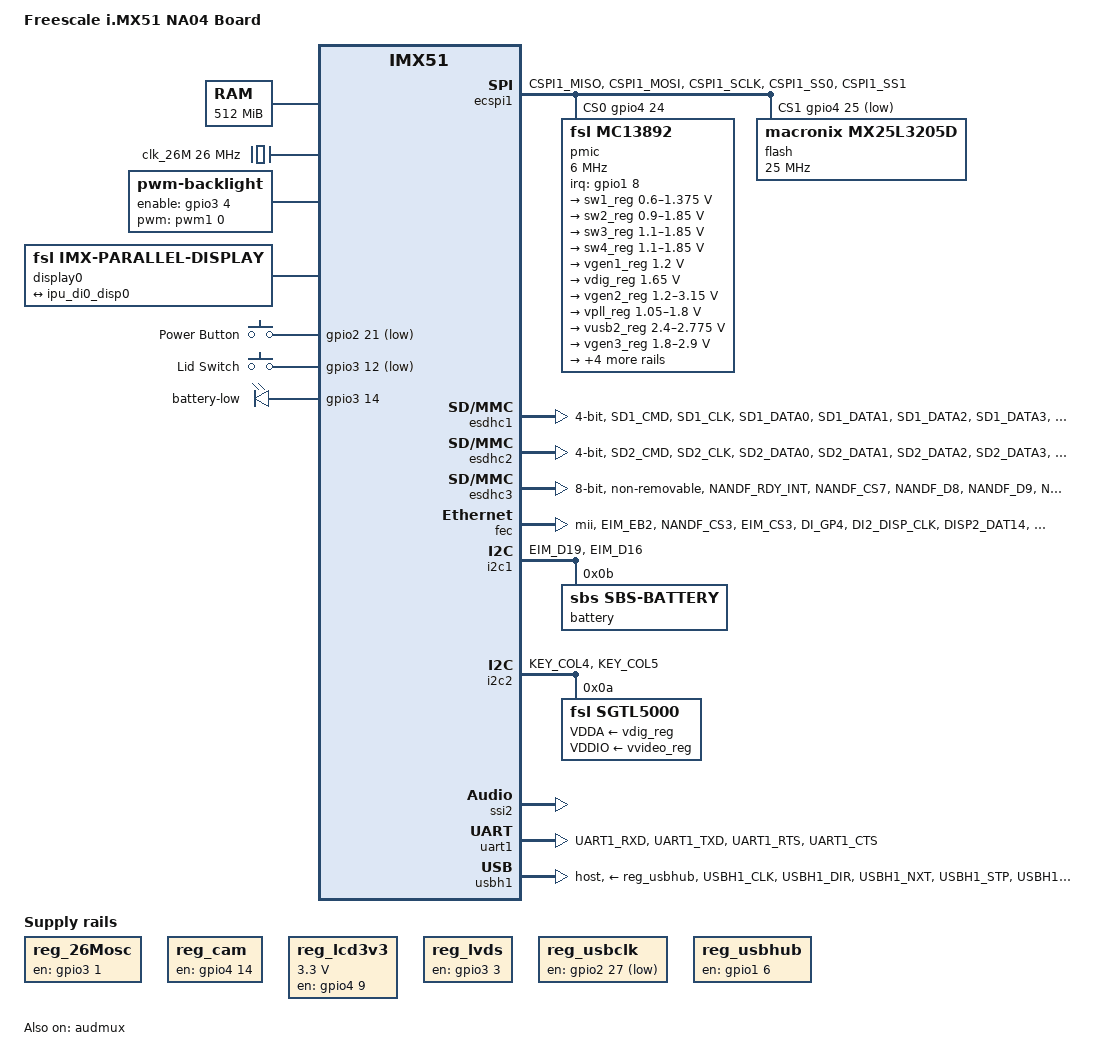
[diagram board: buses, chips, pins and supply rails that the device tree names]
/*
 * Copyright 2011 Freescale Semiconductor, Inc.
 * Copyright 2011 Linaro Ltd.
 * Copyright 2014-2015 Emil Renner Berthing <kernel@esmil.dk>
 *
 * The code contained herein is licensed under the GNU General Public
 * License. You may obtain a copy of the GNU General Public License
 * Version 2 or later at the following locations:
 *
 * http://www.opensource.org/licenses/gpl-license.html
 * http://www.gnu.org/copyleft/gpl.html
 */

/dts-v1/;
#include "imx51.dtsi"

/ {
	model = "Freescale i.MX51 NA04 Board";
	compatible = "fsl,imx51-na04", "fsl,imx51";

	chosen {
		stdout-path = &uart1;
	};

	memory {
		reg = <0x90000000 0x20000000>;
	};

	clocks {
		ckih1 {
			clock-frequency = <22579200>;
		};

		clk_26M: codec_clock {
			compatible = "fixed-clock";
			#clock-cells = <0>;
			clock-frequency = <26000000>;
			gpios = <&gpio4 26 GPIO_ACTIVE_LOW>;
		};
	};

	backlight {
		compatible = "pwm-backlight";
		pinctrl-names = "default";
		pinctrl-0 = <&pinctrl_backlight>;
		pwms = <&pwm1 0 78770>;
		brightness-levels = <0 4 8 16 32 64 128 255>;
		default-brightness-level = <5>;
		enable-gpios = <&gpio3 4 GPIO_ACTIVE_HIGH>;
	};

	display0: display@di0 {
		compatible = "fsl,imx-parallel-display";
		interface-pix-fmt = "lvds666";
		pinctrl-names = "default";
		pinctrl-0 = <&pinctrl_ipu_disp1>;

		display-timings {
			native-mode = <&timing0>;
			timing0: lvds { /* MITSUBISHI LVDS panel */
				clock-frequency = <65000000>;
				hactive = <1024>;
				vactive = <600>;
				hback-porch = <220>;
				hfront-porch = <40>;
				vback-porch = <21>;
				vfront-porch = <7>;
				hsync-len = <60>;
				vsync-len = <10>;
			};
		};

		port {
			display0_in: endpoint {
				remote-endpoint = <&ipu_di0_disp0>;
			};
		};
	};

	gpio-keys {
		compatible = "gpio-keys";
		pinctrl-names = "default";
		pinctrl-0 = <&pinctrl_gpio_keys>;

		power {
			label = "Power Button";
			gpios = <&gpio2 21 GPIO_ACTIVE_LOW>;
			linux,code = <KEY_POWER>;
			wakeup-source;
		};

		lid {
			label = "Lid Switch";
			gpios = <&gpio3 12 GPIO_ACTIVE_LOW>;
			linux,input-type = <5>; /* EV_SW */
			linux,code = <0>; /* SW_LID */
			debounce-interval = <1>;
			wakeup-source;
		};
	};

	leds {
		compatible = "gpio-leds";
		pinctrl-names = "default";
		pinctrl-0 = <&pinctrl_gpio_leds>;

		led-battery-low {
			label = "battery-low";
			gpios = <&gpio3 14 GPIO_ACTIVE_HIGH>;
			linux,default-trigger = "sbs-0-000b-charging-blink-full-solid";
		};
	};


	regulators {
		compatible = "simple-bus";
		#address-cells = <1>;
		#size-cells = <0>;

		reg_26Mosc: 26M_osc {
			compatible = "regulator-fixed";
			pinctrl-names = "default";
			pinctrl-0 = <&pinctrl_reg26Mosc>;
			regulator-name = "26M_osc";
			gpio = <&gpio3 1 GPIO_ACTIVE_HIGH>;
			enable-active-high;
			regulator-always-on;
		};

		reg_cam: camera {
			compatible = "regulator-fixed";
			pinctrl-names = "default";
			pinctrl-0 = <&pinctrl_regcamera>;
			regulator-name = "camera";
			gpio = <&gpio4 14 GPIO_ACTIVE_HIGH>;
			enable-active-high;
			regulator-always-on;
		};

		reg_lcd3v3: lcd_3v3 {
			compatible = "regulator-fixed";
			pinctrl-names = "default";
			pinctrl-0 = <&pinctrl_reglcd3v3>;
			regulator-name = "lcd_3v3";
			regulator-min-microvolt = <3300000>;
			regulator-max-microvolt = <3300000>;
			gpio = <&gpio4 9 GPIO_ACTIVE_HIGH>;
			enable-active-high;
			regulator-always-on;
		};

		reg_lvds: lvds {
			compatible = "regulator-fixed";
			pinctrl-names = "default";
			pinctrl-0 = <&pinctrl_reglvds>;
			regulator-name = "lvds";
			gpio = <&gpio3 3 GPIO_ACTIVE_HIGH>;
			enable-active-high;
			regulator-always-on;
		};

		reg_usbclk: usbclk {
			compatible = "regulator-fixed";
			pinctrl-names = "default";
			pinctrl-0 = <&pinctrl_regusbclk>;
			regulator-name = "usbclk";
			gpio = <&gpio2 27 GPIO_ACTIVE_LOW>;
			regulator-always-on;
		};

		reg_usbhub: usbhub {
			compatible = "regulator-fixed";
			pinctrl-names = "default";
			pinctrl-0 = <&pinctrl_regusbhub>;
			regulator-name = "usbhub";
			gpio = <&gpio1 6 GPIO_ACTIVE_HIGH>;
			enable-active-high;
		};
	};

	sound {
		compatible = "fsl,imx51-na04-sgtl5000",
		             "fsl,imx-audio-sgtl5000";
		model = "imx51-na04-sgtl5000";
		ssi-controller = <&ssi2>;
		audio-codec = <&sgtl5000>;
		audio-routing =
			"MIC_IN", "Mic Jack",
			"Mic Jack", "Mic Bias",
			"Headphone Jack", "HP_OUT";
		mux-int-port = <2>;
		mux-ext-port = <3>;
	};
};

&audmux {
	pinctrl-names = "default";
	pinctrl-0 = <&pinctrl_audmux>;
	status = "okay";
};

&ecspi1 {
	pinctrl-names = "default";
	pinctrl-0 = <&pinctrl_ecspi1>;
	dmas = <&sdma 6 7 1>, <&sdma 7 7 2>;
	dma-names = "rx", "tx";
	fsl,spi-num-chipselects = <2>;
	cs-gpios = <&gpio4 24 GPIO_ACTIVE_HIGH>,
		   <&gpio4 25 GPIO_ACTIVE_LOW>;
	status = "okay";

	pmic: mc13892@0 {
		compatible = "fsl,mc13892";
		pinctrl-names = "default";
		pinctrl-0 = <&pinctrl_pmic>;
		spi-max-frequency = <6000000>;
		spi-cs-high;
		reg = <0>;
		interrupt-parent = <&gpio1>;
		interrupts = <8 IRQ_TYPE_LEVEL_HIGH>;
		fsl,mc13xxx-uses-rtc;
		fsl,mc13xxx-uses-poweroff;

		regulators {
			sw1_reg: sw1 {
				regulator-min-microvolt = <600000>;
				regulator-max-microvolt = <1375000>;
				regulator-boot-on;
				regulator-always-on;
			};

			sw2_reg: sw2 {
				regulator-min-microvolt = <900000>;
				regulator-max-microvolt = <1850000>;
				regulator-boot-on;
				regulator-always-on;
			};

			sw3_reg: sw3 {
				regulator-min-microvolt = <1100000>;
				regulator-max-microvolt = <1850000>;
				regulator-boot-on;
				regulator-always-on;
			};

			sw4_reg: sw4 {
				regulator-min-microvolt = <1100000>;
				regulator-max-microvolt = <1850000>;
				regulator-boot-on;
				regulator-always-on;
			};

			vgen1_reg: vgen1 {
				regulator-min-microvolt = <1200000>;
				regulator-max-microvolt = <1200000>;
			};

			viohi_reg: viohi {
				regulator-boot-on;
				regulator-always-on;
			};

			vdig_reg: vdig {
				regulator-min-microvolt = <1650000>;
				regulator-max-microvolt = <1650000>;
				regulator-boot-on;
			};

			vgen2_reg: vgen2 {
				regulator-min-microvolt = <1200000>;
				regulator-max-microvolt = <3150000>;
				regulator-always-on;
			};

			vpll_reg: vpll {
				regulator-min-microvolt = <1050000>;
				regulator-max-microvolt = <1800000>;
				regulator-boot-on;
				regulator-always-on;
			};

			vusb2_reg: vusb2 {
				regulator-min-microvolt = <2400000>;
				regulator-max-microvolt = <2775000>;
				regulator-boot-on;
				regulator-always-on;
			};

			vgen3_reg: vgen3 {
				regulator-min-microvolt = <1800000>;
				regulator-max-microvolt = <2900000>;
				regulator-always-on;
			};

			vcam_reg: vcam {
				regulator-min-microvolt = <2500000>;
				regulator-max-microvolt = <3000000>;
			};

			vvideo_reg: vvideo {
				regulator-min-microvolt = <2775000>;
				regulator-max-microvolt = <2775000>;
			};

			vaudio_reg: vaudio {
				regulator-min-microvolt = <2300000>;
				regulator-max-microvolt = <3000000>;
			};

			vsd_reg: vsd {
				regulator-min-microvolt = <1800000>;
				regulator-max-microvolt = <3150000>;
			};

			vusb_reg: vusb {
				regulator-boot-on;
				regulator-always-on;
			};
		};
	};

	flash: flash@1 {
		compatible = "macronix,mx25l3205d", "macronix,m25p80";
		spi-max-frequency = <25000000>;
		reg = <1>;
		m25p,fast-read;
	};
};

&esdhc1 {
	pinctrl-names = "default";
	pinctrl-0 = <&pinctrl_esdhc1>;
	cd-gpios = <&gpio1 0 GPIO_ACTIVE_LOW>;
	wp-gpios = <&gpio1 1 GPIO_ACTIVE_HIGH>;
	bus-width = <4>;
	status = "okay";
};

&esdhc2 {
	pinctrl-names = "default";
	pinctrl-0 = <&pinctrl_esdhc2>;
	cd-gpios = <&gpio1 7 GPIO_ACTIVE_LOW>;
	wp-gpios = <&gpio1 5 GPIO_ACTIVE_HIGH>;
	bus-width = <4>;
	status = "okay";
};

&esdhc3 {
	pinctrl-names = "default";
	pinctrl-0 = <&pinctrl_esdhc3>;
	non-removable;
	bus-width = <8>;
	status = "okay";
};

&fec {
	pinctrl-names = "default";
	pinctrl-0 = <&pinctrl_fec>;
	phy-mode = "mii";
	phy-reset-gpios = <&gpio2 14 GPIO_ACTIVE_HIGH>;
	phy-reset-duration = <1>;
	status = "okay";
};

&i2c1 {
	pinctrl-names = "default";
	pinctrl-0 = <&pinctrl_i2c1>;
	status = "okay";

	battery: sbs-battery@0b {
		compatible = "sbs,sbs-battery";
		reg = <0x0b>;
	};
};

&i2c2 {
	pinctrl-names = "default";
	pinctrl-0 = <&pinctrl_i2c2>;
	status = "okay";

	sgtl5000: codec@0a {
		compatible = "fsl,sgtl5000";
		pinctrl-names = "default";
		pinctrl-0 = <&pinctrl_clkcodec>;
		reg = <0x0a>;
		clocks = <&clk_26M>;
		VDDA-supply = <&vdig_reg>;
		VDDIO-supply = <&vvideo_reg>;
	};
};

&ipu_di0_disp0 {
	remote-endpoint = <&display0_in>;
};

&ssi2 {
	status = "okay";
};

&uart1 {
	pinctrl-names = "default";
	pinctrl-0 = <&pinctrl_uart1>;
	uart-has-rtscts;
	status = "okay";
};

&usbh1 {
	pinctrl-names = "default";
	pinctrl-0 = <&pinctrl_usbh1>;
	vbus-supply = <&reg_usbhub>;
	fsl,usbphy = <&usbphy0>;
	phy_type = "ulpi";
	dr_mode = "host";
	status = "okay";
};

&usbphy0 {
	reset-gpios = <&gpio2 5 GPIO_ACTIVE_LOW>;
};

&iomuxc {
	imx51-na04 {
		pinctrl_audmux: audmuxgrp {
			fsl,pins = <
				MX51_PAD_AUD3_BB_TXD__AUD3_TXD		0x80000000
				MX51_PAD_AUD3_BB_RXD__AUD3_RXD		0x80000000
				MX51_PAD_AUD3_BB_CK__AUD3_TXC		0x80000000
				MX51_PAD_AUD3_BB_FS__AUD3_TXFS		0x80000000
			>;
		};

		pinctrl_backlight: backlightgrp {
			fsl,pins = <
				MX51_PAD_GPIO1_2__PWM1_PWMO		0xa5
				MX51_PAD_DI1_D1_CS__GPIO3_4		0x85
			>;
		};

		pinctrl_clkcodec: clkcodecgrp {
			fsl,pins = <
				MX51_PAD_CSPI1_RDY__GPIO4_26		0x85
			>;
		};

		pinctrl_ecspi1: ecspi1grp {
			fsl,pins = <
				MX51_PAD_CSPI1_MISO__ECSPI1_MISO	0x185
				MX51_PAD_CSPI1_MOSI__ECSPI1_MOSI	0x185
				MX51_PAD_CSPI1_SCLK__ECSPI1_SCLK	0x185
				MX51_PAD_CSPI1_SS0__GPIO4_24		0x85 /* CS0 */
				MX51_PAD_CSPI1_SS1__GPIO4_25		0x85 /* CS1 */
			>;
		};

		pinctrl_esdhc1: esdhc1grp {
			fsl,pins = <
				MX51_PAD_SD1_CMD__SD1_CMD		0x400020d5
				MX51_PAD_SD1_CLK__SD1_CLK		0x20d5
				MX51_PAD_SD1_DATA0__SD1_DATA0		0x20d5
				MX51_PAD_SD1_DATA1__SD1_DATA1		0x20d5
				MX51_PAD_SD1_DATA2__SD1_DATA2		0x20d5
				MX51_PAD_SD1_DATA3__SD1_DATA3		0x20d5
				MX51_PAD_GPIO1_0__GPIO1_0		0x100 /* CD */
				MX51_PAD_GPIO1_1__GPIO1_1		0x100 /* WP */
			>;
		};

		pinctrl_esdhc2: esdhc2grp {
			fsl,pins = <
				MX51_PAD_SD2_CMD__SD2_CMD		0x400020d5
				MX51_PAD_SD2_CLK__SD2_CLK		0x20d5
				MX51_PAD_SD2_DATA0__SD2_DATA0		0x20d5
				MX51_PAD_SD2_DATA1__SD2_DATA1		0x20d5
				MX51_PAD_SD2_DATA2__SD2_DATA2		0x20d5
				MX51_PAD_SD2_DATA3__SD2_DATA3		0x20d5
				MX51_PAD_GPIO1_7__GPIO1_7		0x100 /* CD */
				MX51_PAD_GPIO1_5__GPIO1_5		0x100 /* WP */
			>;
		};

		pinctrl_esdhc3: esdhc3grp {
			fsl,pins = <
				MX51_PAD_NANDF_RDY_INT__SD3_CMD		0x400020d5
				MX51_PAD_NANDF_CS7__SD3_CLK		0x20d5
				MX51_PAD_NANDF_D8__SD3_DATA0		0x20d5
				MX51_PAD_NANDF_D9__SD3_DATA1		0x20d5
				MX51_PAD_NANDF_D10__SD3_DATA2		0x20d5
				MX51_PAD_NANDF_RB0__SD3_DATA3		0x20d5
				MX51_PAD_NANDF_D12__SD3_DAT4		0x20d5
				MX51_PAD_NANDF_D13__SD3_DAT5		0x20d5
				MX51_PAD_NANDF_D14__SD3_DAT6		0x20d5
				MX51_PAD_NANDF_D15__SD3_DAT7		0x20d5
			>;
		};

		pinctrl_fec: fecgrp {
			fsl,pins = <
				MX51_PAD_EIM_EB2__FEC_MDIO		0x000001fd
				MX51_PAD_NANDF_CS3__FEC_MDC		0x00002004
				MX51_PAD_EIM_CS3__FEC_RDATA3		0x00000180
				MX51_PAD_DI_GP4__FEC_RDATA2		0x00000180
				MX51_PAD_DI2_DISP_CLK__FEC_RDATA1	0x00000180
				MX51_PAD_DISP2_DAT14__FEC_RDATA0	0x00000180
				MX51_PAD_NANDF_CS6__FEC_TDATA3		0x00002004
				MX51_PAD_NANDF_CS5__FEC_TDATA2		0x00002004
				MX51_PAD_NANDF_CS4__FEC_TDATA1		0x00002004
				MX51_PAD_DISP2_DAT15__FEC_TDATA0	0x00000004
				MX51_PAD_DISP2_DAT9__FEC_TX_EN		0x00000004
				MX51_PAD_NANDF_CS2__FEC_TX_ER		0x00002004
				MX51_PAD_DISP2_DAT13__FEC_TX_CLK	0x00000180
				MX51_PAD_NANDF_RB2__FEC_COL		0x00002180
				MX51_PAD_NANDF_RB3__FEC_RX_CLK		0x00002180
				MX51_PAD_EIM_CS5__FEC_CRS		0x00000180
				MX51_PAD_EIM_CS4__FEC_RX_ER		0x00000180
				MX51_PAD_NANDF_D11__FEC_RX_DV		0x00002180
				MX51_PAD_EIM_A20__GPIO2_14		0x000000c0 /* Phy Reset */
			>;
		};

		pinctrl_gpio_keys: gpiokeysgrp {
			fsl,pins = <
				MX51_PAD_EIM_A27__GPIO2_21		0x100
				MX51_PAD_CSI1_D8__GPIO3_12		0x105
			>;
		};

		pinctrl_gpio_leds: gpioledsgrp {
			fsl,pins = <
				MX51_PAD_CSI1_VSYNC__GPIO3_14		0x1
			>;
		};

		pinctrl_i2c1: i2c1grp {
			fsl,pins = <
				MX51_PAD_EIM_D19__I2C1_SCL		0x400001ed
				MX51_PAD_EIM_D16__I2C1_SDA		0x400001ed
			>;
		};

		pinctrl_i2c2: i2c2grp {
			fsl,pins = <
				MX51_PAD_KEY_COL4__I2C2_SCL		0x400001ed
				MX51_PAD_KEY_COL5__I2C2_SDA		0x400001ed
			>;
		};

		pinctrl_ipu_disp1: ipudisp1grp {
			fsl,pins = <
				MX51_PAD_DISP1_DAT0__DISP1_DAT0		0x5
				MX51_PAD_DISP1_DAT1__DISP1_DAT1		0x5
				MX51_PAD_DISP1_DAT2__DISP1_DAT2		0x5
				MX51_PAD_DISP1_DAT3__DISP1_DAT3		0x5
				MX51_PAD_DISP1_DAT4__DISP1_DAT4		0x5
				MX51_PAD_DISP1_DAT5__DISP1_DAT5		0x5
				MX51_PAD_DISP1_DAT6__DISP1_DAT6		0x5
				MX51_PAD_DISP1_DAT7__DISP1_DAT7		0x5
				MX51_PAD_DISP1_DAT8__DISP1_DAT8		0x5
				MX51_PAD_DISP1_DAT9__DISP1_DAT9		0x5
				MX51_PAD_DISP1_DAT10__DISP1_DAT10	0x5
				MX51_PAD_DISP1_DAT11__DISP1_DAT11	0x5
				MX51_PAD_DISP1_DAT12__DISP1_DAT12	0x5
				MX51_PAD_DISP1_DAT13__DISP1_DAT13	0x5
				MX51_PAD_DISP1_DAT14__DISP1_DAT14	0x5
				MX51_PAD_DISP1_DAT15__DISP1_DAT15	0x5
				MX51_PAD_DISP1_DAT16__DISP1_DAT16	0x5
				MX51_PAD_DISP1_DAT17__DISP1_DAT17	0x5
				MX51_PAD_DISP1_DAT18__DISP1_DAT18	0x5
				MX51_PAD_DISP1_DAT19__DISP1_DAT19	0x5
				MX51_PAD_DISP1_DAT20__DISP1_DAT20	0x5
				MX51_PAD_DISP1_DAT21__DISP1_DAT21	0x5
				MX51_PAD_DISP1_DAT22__DISP1_DAT22	0x5
				MX51_PAD_DISP1_DAT23__DISP1_DAT23	0x5
				MX51_PAD_DI1_PIN2__DI1_PIN2		0x5
				MX51_PAD_DI1_PIN3__DI1_PIN3		0x5
			>;
		};

		pinctrl_pmic: pmicgrp {
			fsl,pins = <
				MX51_PAD_GPIO1_8__GPIO1_8		0xe5 /* IRQ */
			>;
		};

		pinctrl_reg26Mosc: reg26Moscgrp {
			fsl,pins = <
				MX51_PAD_EIM_LBA__GPIO3_1		0x85
			>;
		};

		pinctrl_regcamera: regcameracgrp {
			fsl,pins = <
				MX51_PAD_CSI2_HSYNC__GPIO4_14		0x85
			>;
		};

		pinctrl_reglcd3v3: reglcd3v3cgrp {
			fsl,pins = <
				MX51_PAD_CSI2_D12__GPIO4_9		0x85
			>;
		};

		pinctrl_reglvds: reglvdscgrp {
			fsl,pins = <
				MX51_PAD_NANDF_WE_B__GPIO3_3		0x84
			>;
		};

		pinctrl_regusbclk: regusbclkgrp {
			fsl,pins = <
				MX51_PAD_EIM_CS2__GPIO2_27		0x85
			>;
		};

		pinctrl_regusbhub: regusbhubgrp {
			fsl,pins = <
				MX51_PAD_GPIO1_6__GPIO1_6		0x85
			>;
		};

		pinctrl_uart1: uart1grp {
			fsl,pins = <
				MX51_PAD_UART1_RXD__UART1_RXD		0x1c5
				MX51_PAD_UART1_TXD__UART1_TXD		0x1c5
				MX51_PAD_UART1_RTS__UART1_RTS		0x1c5
				MX51_PAD_UART1_CTS__UART1_CTS		0x1c5
			>;
		};

		pinctrl_usbh1: usbh1grp {
			fsl,pins = <
				MX51_PAD_USBH1_CLK__USBH1_CLK		0x1e5
				MX51_PAD_USBH1_DIR__USBH1_DIR		0x1e5
				MX51_PAD_USBH1_NXT__USBH1_NXT		0x1e5
				MX51_PAD_USBH1_STP__USBH1_STP		0x1e5
				MX51_PAD_USBH1_DATA0__USBH1_DATA0	0x1e5
				MX51_PAD_USBH1_DATA1__USBH1_DATA1	0x1e5
				MX51_PAD_USBH1_DATA2__USBH1_DATA2	0x1e5
				MX51_PAD_USBH1_DATA3__USBH1_DATA3	0x1e5
				MX51_PAD_USBH1_DATA4__USBH1_DATA4	0x1e5
				MX51_PAD_USBH1_DATA5__USBH1_DATA5	0x1e5
				MX51_PAD_USBH1_DATA6__USBH1_DATA6	0x1e5
				MX51_PAD_USBH1_DATA7__USBH1_DATA7	0x1e5
				MX51_PAD_EIM_D21__GPIO2_5		0x85 /* Phy Reset */
			>;
		};
	};
};
